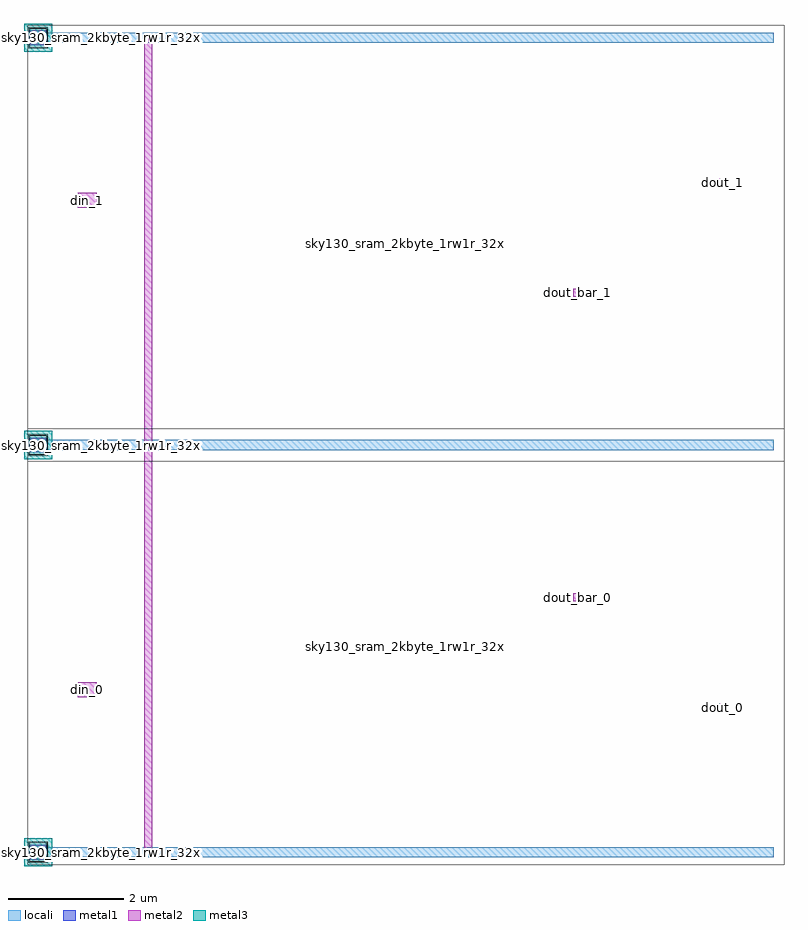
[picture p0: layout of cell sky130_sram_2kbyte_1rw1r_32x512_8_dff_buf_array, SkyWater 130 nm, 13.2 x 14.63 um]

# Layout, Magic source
magic
tech sky130A
magscale 1 2
<< locali >>
rect 0 2810 2554 2846
rect 0 1396 2554 1432
rect 0 -18 2554 18
<< metal1 >>
rect -32 2802 32 2854
rect -32 1388 32 1440
rect -32 -26 32 26
<< metal2 >>
rect -28 2804 28 2852
rect 137 2238 203 2290
rect -28 1390 28 1438
rect 137 538 203 590
rect -28 -24 28 24
rect 369 0 397 2828
rect 2364 2311 2392 2339
rect 1858 1929 1886 1957
rect 1858 871 1886 899
rect 2364 489 2392 517
<< metal3 >>
rect -49 2779 49 2877
rect -49 1365 49 1463
rect -49 -49 49 49
use sky130_sram_2kbyte_1rw1r_32x512_8_dff_buf_0  sky130_sram_2kbyte_1rw1r_32x512_8_dff_buf_0_1
transform 1 0 0 0 1 0
box -36 -43 2590 1471
use sky130_sram_2kbyte_1rw1r_32x512_8_dff_buf_0  sky130_sram_2kbyte_1rw1r_32x512_8_dff_buf_0_0
transform 1 0 0 0 -1 2828
box -36 -43 2590 1471
use sky130_sram_2kbyte_1rw1r_32x512_8_contact_7  sky130_sram_2kbyte_1rw1r_32x512_8_contact_7_0
transform 1 0 -33 0 1 2791
box 0 0 66 74
use sky130_sram_2kbyte_1rw1r_32x512_8_contact_19  sky130_sram_2kbyte_1rw1r_32x512_8_contact_19_0
transform 1 0 -32 0 1 2796
box 0 0 64 64
use sky130_sram_2kbyte_1rw1r_32x512_8_contact_14  sky130_sram_2kbyte_1rw1r_32x512_8_contact_14_0
transform 1 0 -29 0 1 2795
box 0 0 58 66
use sky130_sram_2kbyte_1rw1r_32x512_8_contact_7  sky130_sram_2kbyte_1rw1r_32x512_8_contact_7_1
transform 1 0 -33 0 1 1377
box 0 0 66 74
use sky130_sram_2kbyte_1rw1r_32x512_8_contact_19  sky130_sram_2kbyte_1rw1r_32x512_8_contact_19_1
transform 1 0 -32 0 1 1382
box 0 0 64 64
use sky130_sram_2kbyte_1rw1r_32x512_8_contact_14  sky130_sram_2kbyte_1rw1r_32x512_8_contact_14_1
transform 1 0 -29 0 1 1381
box 0 0 58 66
use sky130_sram_2kbyte_1rw1r_32x512_8_contact_7  sky130_sram_2kbyte_1rw1r_32x512_8_contact_7_2
transform 1 0 -33 0 1 -37
box 0 0 66 74
use sky130_sram_2kbyte_1rw1r_32x512_8_contact_19  sky130_sram_2kbyte_1rw1r_32x512_8_contact_19_2
transform 1 0 -32 0 1 -32
box 0 0 64 64
use sky130_sram_2kbyte_1rw1r_32x512_8_contact_14  sky130_sram_2kbyte_1rw1r_32x512_8_contact_14_2
transform 1 0 -29 0 1 -33
box 0 0 58 66
use sky130_sram_2kbyte_1rw1r_32x512_8_contact_7  sky130_sram_2kbyte_1rw1r_32x512_8_contact_7_3
transform 1 0 -33 0 1 1377
box 0 0 66 74
use sky130_sram_2kbyte_1rw1r_32x512_8_contact_19  sky130_sram_2kbyte_1rw1r_32x512_8_contact_19_3
transform 1 0 -32 0 1 1382
box 0 0 64 64
use sky130_sram_2kbyte_1rw1r_32x512_8_contact_14  sky130_sram_2kbyte_1rw1r_32x512_8_contact_14_3
transform 1 0 -29 0 1 1381
box 0 0 58 66
<< labels >>
rlabel metal3 s -49 1365 49 1463 4 vdd
rlabel metal3 s -49 -49 49 49 4 gnd
rlabel metal3 s -49 2779 49 2877 4 gnd
rlabel metal2 s 137 538 203 590 4 din_0
rlabel metal2 s 2364 489 2392 517 4 dout_0
rlabel metal2 s 1858 871 1886 899 4 dout_bar_0
rlabel metal2 s 137 2238 203 2290 4 din_1
rlabel metal2 s 2364 2311 2392 2339 4 dout_1
rlabel metal2 s 1858 1929 1886 1957 4 dout_bar_1
rlabel metal2 s 369 0 397 2828 4 clk
<< properties >>
string FIXED_BBOX 0 0 2554 2828
<< end >>
